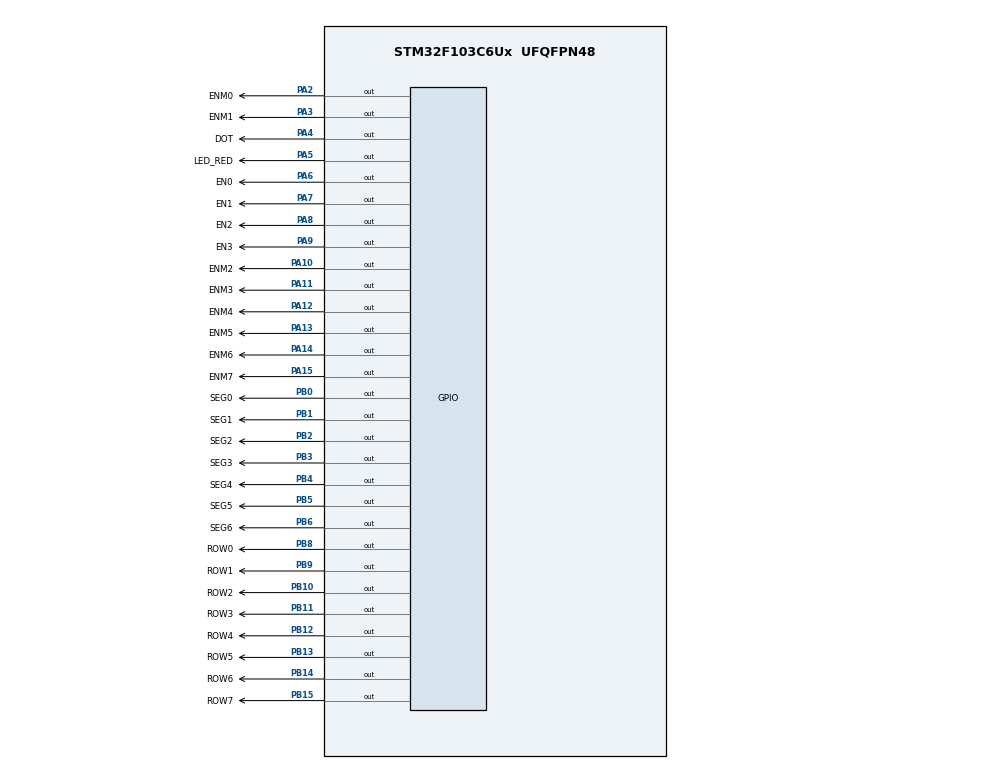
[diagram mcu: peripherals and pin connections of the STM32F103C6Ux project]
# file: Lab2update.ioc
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Mcu.Family=STM32F1
Mcu.Name=STM32F103C6Ux
Mcu.Package=UFQFPN48
NVIC.PriorityGroup=NVIC_PRIORITYGROUP_4
NVIC.TIM2_IRQn=true\:0\:0\:false\:false\:true\:true\:true
PA10.GPIO_Label=ENM2
PA10.Signal=GPIO_Output
PA11.GPIO_Label=ENM3
PA11.Signal=GPIO_Output
PA12.GPIO_Label=ENM4
PA12.Signal=GPIO_Output
PA13.GPIO_Label=ENM5
PA13.Signal=GPIO_Output
PA14.GPIO_Label=ENM6
PA14.Signal=GPIO_Output
PA15.GPIO_Label=ENM7
PA15.Signal=GPIO_Output
PA2.GPIO_Label=ENM0
PA2.Signal=GPIO_Output
PA3.GPIO_Label=ENM1
PA3.Signal=GPIO_Output
PA4.GPIO_Label=DOT
PA4.Signal=GPIO_Output
PA5.GPIO_Label=LED_RED
PA5.Signal=GPIO_Output
PA6.GPIO_Label=EN0
PA6.Signal=GPIO_Output
PA7.GPIO_Label=EN1
PA7.Signal=GPIO_Output
PA8.GPIO_Label=EN2
PA8.Signal=GPIO_Output
PA9.GPIO_Label=EN3
PA9.Signal=GPIO_Output
PB0.GPIO_Label=SEG0
PB0.Signal=GPIO_Output
PB1.GPIO_Label=SEG1
PB1.Signal=GPIO_Output
PB10.GPIO_Label=ROW2
PB10.Signal=GPIO_Output
PB11.GPIO_Label=ROW3
PB11.Signal=GPIO_Output
PB12.GPIO_Label=ROW4
PB12.Signal=GPIO_Output
PB13.GPIO_Label=ROW5
PB13.Signal=GPIO_Output
PB14.GPIO_Label=ROW6
PB14.Signal=GPIO_Output
PB15.GPIO_Label=ROW7
PB15.Signal=GPIO_Output
PB2.GPIO_Label=SEG2
PB2.Signal=GPIO_Output
PB3.GPIO_Label=SEG3
PB3.Signal=GPIO_Output
PB4.GPIO_Label=SEG4
PB4.Signal=GPIO_Output
PB5.GPIO_Label=SEG5
PB5.Signal=GPIO_Output
PB6.GPIO_Label=SEG6
PB6.Signal=GPIO_Output
PB8.GPIO_Label=ROW0
PB8.Signal=GPIO_Output
PB9.GPIO_Label=ROW1
PB9.Signal=GPIO_Output
ProjectManager.HeapSize=0x200
ProjectManager.StackSize=0x400
ProjectManager.TargetToolchain=STM32CubeIDE
RCC.APB1Freq_Value=8000000
RCC.APB2Freq_Value=8000000
TIM2.Period=9
TIM2.Prescaler=7999
VP_SYS_VS_ND.Mode=No_Debug
VP_TIM2_VS_ClockSourceINT.Mode=Internal
board=custom

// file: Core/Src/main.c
/* USER CODE BEGIN Header */
/**
  ******************************************************************************
  * @file           : main.c
  * @brief          : Main program body
  ******************************************************************************
  * @attention
  *
  * <h2><center>&copy; Copyright (c) 2023 STMicroelectronics.
  * All rights reserved.</center></h2>
  *
  * This software component is licensed by ST under BSD 3-Clause license,
  * the "License"; You may not use this file except in compliance with the
  * License. You may obtain a copy of the License at:
  *                        opensource.org/licenses/BSD-3-Clause
  *
  ******************************************************************************
  */
/* USER CODE END Header */
#include "main.h"
#include "software_timer.h"

TIM_HandleTypeDef htim2;

void SystemClock_Config(void);
static void MX_GPIO_Init(void);
static void MX_TIM2_Init(void);

/* USER CODE BEGIN 0 */
void display7SEG(int num){
	  if( num == 0){
		  	  	  HAL_GPIO_WritePin(SEG0_GPIO_Port, SEG0_Pin, RESET);
		  	  	  HAL_GPIO_WritePin(SEG1_GPIO_Port, SEG1_Pin, RESET);
		  	  	  HAL_GPIO_WritePin(SEG2_GPIO_Port, SEG2_Pin, RESET);
		  	  	  HAL_GPIO_WritePin(SEG3_GPIO_Port, SEG3_Pin, RESET);
		  	  	  HAL_GPIO_WritePin(SEG4_GPIO_Port, SEG4_Pin, RESET);
		  	  	  HAL_GPIO_WritePin(SEG5_GPIO_Port, SEG5_Pin, RESET);
		  	  	  HAL_GPIO_WritePin(SEG6_GPIO_Port, SEG6_Pin, SET);
	  }
	  else if( num == 1){
	    	  	  HAL_GPIO_WritePin(SEG0_GPIO_Port, SEG0_Pin, SET);
	    	  	  HAL_GPIO_WritePin(SEG1_GPIO_Port, SEG1_Pin, RESET);
	    	  	  HAL_GPIO_WritePin(SEG2_GPIO_Port, SEG2_Pin, RESET);
	    	  	  HAL_GPIO_WritePin(SEG3_GPIO_Port, SEG3_Pin, SET);
	    	  	  HAL_GPIO_WritePin(SEG4_GPIO_Port, SEG4_Pin, SET);
	    	  	  HAL_GPIO_WritePin(SEG5_GPIO_Port, SEG5_Pin, SET);
	    	  	  HAL_GPIO_WritePin(SEG6_GPIO_Port, SEG6_Pin, SET);
	  }
	  else if( num == 2){
	    	  	  HAL_GPIO_WritePin(SEG0_GPIO_Port, SEG0_Pin, RESET);
	    	  	  HAL_GPIO_WritePin(SEG1_GPIO_Port, SEG1_Pin, RESET);
	    	  	  HAL_GPIO_WritePin(SEG2_GPIO_Port, SEG2_Pin, SET);
	    	  	  HAL_GPIO_WritePin(SEG3_GPIO_Port, SEG3_Pin, RESET);
	    	  	  HAL_GPIO_WritePin(SEG4_GPIO_Port, SEG4_Pin, RESET);
	    	  	  HAL_GPIO_WritePin(SEG5_GPIO_Port, SEG5_Pin, SET);
	    	  	  HAL_GPIO_WritePin(SEG6_GPIO_Port, SEG6_Pin, RESET);
	  }
	  else if( num == 3){
	    	  	  HAL_GPIO_WritePin(SEG0_GPIO_Port, SEG0_Pin, RESET);
	    	  	  HAL_GPIO_WritePin(SEG1_GPIO_Port, SEG1_Pin, RESET);
	    	  	  HAL_GPIO_WritePin(SEG2_GPIO_Port, SEG2_Pin, RESET);
	    	  	  HAL_GPIO_WritePin(SEG3_GPIO_Port, SEG3_Pin, RESET);
	    	  	  HAL_GPIO_WritePin(SEG4_GPIO_Port, SEG4_Pin, SET);
	    	  	  HAL_GPIO_WritePin(SEG5_GPIO_Port, SEG5_Pin, SET);
	    	  	  HAL_GPIO_WritePin(SEG6_GPIO_Port, SEG6_Pin, RESET);
	  }
	  else if( num == 4){
	    	  	  HAL_GPIO_WritePin(SEG0_GPIO_Port, SEG0_Pin, SET);
	    	  	  HAL_GPIO_WritePin(SEG1_GPIO_Port, SEG1_Pin, RESET);
	    	  	  HAL_GPIO_WritePin(SEG2_GPIO_Port, SEG2_Pin, RESET);
	    	  	  HAL_GPIO_WritePin(SEG3_GPIO_Port, SEG3_Pin, SET);
	    	  	  HAL_GPIO_WritePin(SEG4_GPIO_Port, SEG4_Pin, SET);
	    	  	  HAL_GPIO_WritePin(SEG5_GPIO_Port, SEG5_Pin, RESET);
	    	  	  HAL_GPIO_WritePin(SEG6_GPIO_Port, SEG6_Pin, RESET);
	  }
	  else if( num == 5){
	    	  	  HAL_GPIO_WritePin(SEG0_GPIO_Port, SEG0_Pin, RESET);
	    	  	  HAL_GPIO_WritePin(SEG1_GPIO_Port, SEG1_Pin, SET);
	    	  	  HAL_GPIO_WritePin(SEG2_GPIO_Port, SEG2_Pin, RESET);
	    	  	  HAL_GPIO_WritePin(SEG3_GPIO_Port, SEG3_Pin, RESET);
	    	  	  HAL_GPIO_WritePin(SEG4_GPIO_Port, SEG4_Pin, SET);
	    	  	  HAL_GPIO_WritePin(SEG5_GPIO_Port, SEG5_Pin, RESET);
	    	  	  HAL_GPIO_WritePin(SEG6_GPIO_Port, SEG6_Pin, RESET);
	  }
	  else if( num == 6){
	    	  	  HAL_GPIO_WritePin(SEG0_GPIO_Port, SEG0_Pin, RESET);
	    	  	  HAL_GPIO_WritePin(SEG1_GPIO_Port, SEG1_Pin, SET);
	    	  	  HAL_GPIO_WritePin(SEG2_GPIO_Port, SEG2_Pin, RESET);
	    	  	  HAL_GPIO_WritePin(SEG3_GPIO_Port, SEG3_Pin, RESET);
	    	  	  HAL_GPIO_WritePin(SEG4_GPIO_Port, SEG4_Pin, RESET);
	    	  	  HAL_GPIO_WritePin(SEG5_GPIO_Port, SEG5_Pin, RESET);
	    	  	  HAL_GPIO_WritePin(SEG6_GPIO_Port, SEG6_Pin, RESET);
	  }
	  else if( num == 7){
	    	  	  HAL_GPIO_WritePin(SEG0_GPIO_Port, SEG0_Pin, RESET);
	    	  	  HAL_GPIO_WritePin(SEG1_GPIO_Port, SEG1_Pin, RESET);
	    	  	  HAL_GPIO_WritePin(SEG2_GPIO_Port, SEG2_Pin, RESET);
	    	  	  HAL_GPIO_WritePin(SEG3_GPIO_Port, SEG3_Pin, SET);
	    	  	  HAL_GPIO_WritePin(SEG4_GPIO_Port, SEG4_Pin, SET);
	    	  	  HAL_GPIO_WritePin(SEG5_GPIO_Port, SEG5_Pin, SET);
	    	  	  HAL_GPIO_WritePin(SEG6_GPIO_Port, SEG6_Pin, SET);
	  }
	  else if( num == 8){
	    	  	  HAL_GPIO_WritePin(SEG0_GPIO_Port, SEG0_Pin, RESET);
	    	  	  HAL_GPIO_WritePin(SEG1_GPIO_Port, SEG1_Pin, RESET);
	    	  	  HAL_GPIO_WritePin(SEG2_GPIO_Port, SEG2_Pin, RESET);
	    	  	  HAL_GPIO_WritePin(SEG3_GPIO_Port, SEG3_Pin, RESET);
	    	  	  HAL_GPIO_WritePin(SEG4_GPIO_Port, SEG4_Pin, RESET);
	    	  	  HAL_GPIO_WritePin(SEG5_GPIO_Port, SEG5_Pin, RESET);
	    	  	  HAL_GPIO_WritePin(SEG6_GPIO_Port, SEG6_Pin, RESET);
	  }
	  else if( num == 9){
	    	  	  HAL_GPIO_WritePin(SEG0_GPIO_Port, SEG0_Pin, RESET);
	    	  	  HAL_GPIO_WritePin(SEG1_GPIO_Port, SEG1_Pin, RESET);
	    	  	  HAL_GPIO_WritePin(SEG2_GPIO_Port, SEG2_Pin, RESET);
	    	  	  HAL_GPIO_WritePin(SEG3_GPIO_Port, SEG3_Pin, RESET);
	    	  	  HAL_GPIO_WritePin(SEG4_GPIO_Port, SEG4_Pin, SET);
	    	  	  HAL_GPIO_WritePin(SEG5_GPIO_Port, SEG5_Pin, RESET);
	    	  	  HAL_GPIO_WritePin(SEG6_GPIO_Port, SEG6_Pin, RESET);
	  }

}

const int MAX_LED = 4;
int index_led = 0;
int led_buffer[4] = {1, 2, 0, 3};
//void update7SEG(int index){
//    switch (index){
//		case 0: {
//			display7SEG(led_buffer[index]);
//			break ;
//		}
//		case 1:{
//			display7SEG(led_buffer[index]);
//			break ;
//		}
//		case 2:{
//			display7SEG(led_buffer[index]);
//			break ;
//		}
//		case 3:{
//			display7SEG(led_buffer[index]);
//			break ;
//		}
//		default :{
//		break ;
//		}
//    }
//}
void updateClockBuffer(int hour, int minute){
	if (hour < 10){
		led_buffer[0] = 0;
		led_buffer[1] = hour;
	} else {
		led_buffer[0] = hour / 10;
		led_buffer[1] = hour % 10;
	}
	if (minute < 10){
		led_buffer[2] = 0;
		led_buffer[3] = minute;
	} else {
		led_buffer[2] = minute / 10;
		led_buffer[3] = minute % 10;
	}
}
const int MAX_LED_MATRIX = 8;
int index_led_matrix = 0;
uint8_t matrix_buffer[8] = {0x00, 0xfe, 0x11, 0x11, 0x11, 0x11, 0xfe, 0x00};
void getBuffer(uint8_t config)
  {
    HAL_GPIO_WritePin(GPIOB, ROW0_Pin, !(config&1));
    config = config >> 1;
    HAL_GPIO_WritePin(GPIOB, ROW1_Pin, !(config&1));
    config = config >> 1;
    HAL_GPIO_WritePin(GPIOB, ROW2_Pin, !(config&1));
    config = config >> 1;
    HAL_GPIO_WritePin(GPIOB, ROW3_Pin, !(config&1));
    config = config >> 1;
    HAL_GPIO_WritePin(GPIOB, ROW4_Pin, !(config&1));
    config = config >> 1;
    HAL_GPIO_WritePin(GPIOB, ROW5_Pin, !(config&1));
    config = config >> 1;
    HAL_GPIO_WritePin(GPIOB, ROW6_Pin, !(config&1));
    config = config >> 1;
    HAL_GPIO_WritePin(GPIOB, ROW7_Pin, !(config&1));
  }

void updateLEDMatrix(int index)
    {
      switch(index)
      {
      case 0:
    	  getBuffer(matrix_buffer[0]);
    	  break;
      case 1:
    	  getBuffer(matrix_buffer[1]);
    	  break;
      case 2:
          getBuffer(matrix_buffer[2]);
          break;
      case 3:
          getBuffer(matrix_buffer[3]);
          break;
      case 4:
          getBuffer(matrix_buffer[4]);
          break;
      case 5:
          getBuffer(matrix_buffer[5]);
        break;
      case 6:
          getBuffer(matrix_buffer[6]);
        break;
      case 7:
          getBuffer(matrix_buffer[7]);
        break;
      default:
        break;
      }
    }

void openENM(int index){
 	switch(index) {
		case 0:
		  HAL_GPIO_WritePin(GPIOA, ENM0_Pin, 0);
		  break;
		case 1:
		  HAL_GPIO_WritePin(GPIOA, ENM1_Pin, 0);
		  break;
		case 2:
		  HAL_GPIO_WritePin(GPIOA, ENM2_Pin, 0);
		  break;
		case 3:
		  HAL_GPIO_WritePin(GPIOA, ENM3_Pin, 0);
		  break;
		case 4:
		  HAL_GPIO_WritePin(GPIOA, ENM4_Pin, 0);
		  break;
		case 5:
		  HAL_GPIO_WritePin(GPIOA, ENM5_Pin, 0);
		  break;
		case 6:
		  HAL_GPIO_WritePin(GPIOA, ENM6_Pin, 0);
		  break;
		case 7:
		  HAL_GPIO_WritePin(GPIOA, ENM7_Pin, 0);
		  break;
		default:
		  break;
 	}
}
void clearENM()
  {
	  HAL_GPIO_WritePin(GPIOA, ENM0_Pin | ENM1_Pin | ENM2_Pin |
                               ENM3_Pin | ENM4_Pin | ENM5_Pin |
							   ENM6_Pin | ENM7_Pin, 1);
  }

/* USER CODE END 0 */

int main(void)
{

  /* MCU Configuration--------------------------------------------------------*/

  /* Reset of all peripherals, Initializes the Flash interface and the Systick. */
  HAL_Init();

  /* Configure the system clock */
  SystemClock_Config();

  /* Initialize all configured peripherals */
  MX_GPIO_Init();
  MX_TIM2_Init();
  /* USER CODE BEGIN 2 */
  HAL_TIM_Base_Start_IT(&htim2);
  /* USER CODE END 2 */

  /* Infinite loop */
  /* USER CODE BEGIN WHILE */
  int status = 0;
    setTimer0(10);
    setTimer1(10);
    setTimer2(10);
    setTimer3(10);
    setTimer4(10);

   int hour = 12, minute = 03, second = 50;
  while (1)
    {
  	  void update7SEG(int index){
  		  switch (index){
  			case 0: {
  				display7SEG(led_buffer[index]);
  				break ;
  			}
  			case 1:{
  				display7SEG(led_buffer[index]);
  				break ;
  			}
  			case 2:{
  				display7SEG(led_buffer[index]);
  				break ;
  			}
  			case 3:{
  				display7SEG(led_buffer[index]);
  				break ;
  			}
  			default :{
  			break ;
  			}
  		  }
  	  }

  	  if (timer0_flag == 1){
  		  second ++;
  		  if ( second >= 60) {
  			  second = 0;
  			  minute ++;
  		  }
  		  if( minute >= 60) {
  			  minute = 0;
  			  hour ++;
  		  }
  		  if( hour >=24){
  			  hour = 0;
  		  }
  		  updateClockBuffer (hour, minute);
  		  setTimer0(1000);
  	  }

  	  if( timer1_flag == 1){
  		  HAL_GPIO_TogglePin ( LED_RED_GPIO_Port , LED_RED_Pin );
  		  setTimer1(2000) ;
  	  }
  	  if (timer2_flag == 1){

  	   		  switch (status) {
  	   		  case 0: {
  	   					HAL_GPIO_WritePin(EN0_GPIO_Port, EN0_Pin, GPIO_PIN_RESET);
  	   					HAL_GPIO_WritePin(EN1_GPIO_Port, EN1_Pin, GPIO_PIN_SET);
  	   					HAL_GPIO_WritePin(EN2_GPIO_Port, EN2_Pin, GPIO_PIN_SET);
  	   					HAL_GPIO_WritePin(EN3_GPIO_Port, EN3_Pin, GPIO_PIN_SET);
  	   					status = 1;
  	   					update7SEG(index_led);
  	   					index_led++;
  	   					break;
  	   		  }
  	   		  case 1: {
  	   					HAL_GPIO_WritePin(EN0_GPIO_Port, EN0_Pin, GPIO_PIN_SET);
  	   					HAL_GPIO_WritePin(EN1_GPIO_Port, EN1_Pin, GPIO_PIN_RESET);
  	   					HAL_GPIO_WritePin(EN2_GPIO_Port, EN2_Pin, GPIO_PIN_SET);
  	   					HAL_GPIO_WritePin(EN3_GPIO_Port, EN3_Pin, GPIO_PIN_SET);
  	   					status = 2;
  	   					update7SEG(index_led);
  	   					index_led++;
  	   					break;
  	   		  }
  	   		  case 2:{
  	   					HAL_GPIO_WritePin(EN0_GPIO_Port, EN0_Pin, GPIO_PIN_SET);
  	   					HAL_GPIO_WritePin(EN1_GPIO_Port, EN1_Pin, GPIO_PIN_SET);
  	   					HAL_GPIO_WritePin(EN2_GPIO_Port, EN2_Pin, GPIO_PIN_RESET);
  	   					HAL_GPIO_WritePin(EN3_GPIO_Port, EN3_Pin, GPIO_PIN_SET);
  	   					status = 3;
  	   					update7SEG(index_led);
  	   					index_led++;
  	   					break;
  	   		  }
  	   		  case 3:{
  	   					HAL_GPIO_WritePin(EN0_GPIO_Port, EN0_Pin, GPIO_PIN_SET);
  	   					HAL_GPIO_WritePin(EN1_GPIO_Port, EN1_Pin, GPIO_PIN_SET);
  	   					HAL_GPIO_WritePin(EN2_GPIO_Port, EN2_Pin, GPIO_PIN_SET);
  	   					HAL_GPIO_WritePin(EN3_GPIO_Port, EN3_Pin, GPIO_PIN_RESET);
  	   					status = 0;
  	   					update7SEG(index_led);
  	   					index_led = 0;
  	   					break;
  	   		  }
  	   		  default:
  	   			  break;
  	   		  }
  	   		  setTimer2(250);
  	   	  }
  	   	 if (timer3_flag == 1){
  	   		 HAL_GPIO_TogglePin(DOT_GPIO_Port, DOT_Pin);
  	   		 setTimer3(1000);
  	   	 }
  	   	 if (timer4_flag == 1){
  	   		clearENM();
  	   		openENM(index_led_matrix);
  	   		updateLEDMatrix(index_led_matrix);
  	   		index_led_matrix++;
  	   		if(index_led_matrix > 7) index_led_matrix = 0;
  	   		 setTimer4(10);
  	   	 }
    /* USER CODE END WHILE */

  }
}

void SystemClock_Config(void)
{
  RCC_OscInitTypeDef RCC_OscInitStruct = {0};
  RCC_ClkInitTypeDef RCC_ClkInitStruct = {0};

  /** Initializes the RCC Oscillators according to the specified parameters
  * in the RCC_OscInitTypeDef structure.
  */
  RCC_OscInitStruct.OscillatorType = RCC_OSCILLATORTYPE_HSI;
  RCC_OscInitStruct.HSIState = RCC_HSI_ON;
  RCC_OscInitStruct.HSICalibrationValue = RCC_HSICALIBRATION_DEFAULT;
  RCC_OscInitStruct.PLL.PLLState = RCC_PLL_NONE;
  if (HAL_RCC_OscConfig(&RCC_OscInitStruct) != HAL_OK)
  {
    Error_Handler();
  }
  /** Initializes the CPU, AHB and APB buses clocks
  */
  RCC_ClkInitStruct.ClockType = RCC_CLOCKTYPE_HCLK|RCC_CLOCKTYPE_SYSCLK
                              |RCC_CLOCKTYPE_PCLK1|RCC_CLOCKTYPE_PCLK2;
  RCC_ClkInitStruct.SYSCLKSource = RCC_SYSCLKSOURCE_HSI;
  RCC_ClkInitStruct.AHBCLKDivider = RCC_SYSCLK_DIV1;
  RCC_ClkInitStruct.APB1CLKDivider = RCC_HCLK_DIV1;
  RCC_ClkInitStruct.APB2CLKDivider = RCC_HCLK_DIV1;

  if (HAL_RCC_ClockConfig(&RCC_ClkInitStruct, FLASH_LATENCY_0) != HAL_OK)
  {
    Error_Handler();
  }
}

static void MX_TIM2_Init(void)
{

  TIM_ClockConfigTypeDef sClockSourceConfig = {0};
  TIM_MasterConfigTypeDef sMasterConfig = {0};

  htim2.Instance = TIM2;
  htim2.Init.Prescaler = 7999;
  htim2.Init.CounterMode = TIM_COUNTERMODE_UP;
  htim2.Init.Period = 9;
  htim2.Init.ClockDivision = TIM_CLOCKDIVISION_DIV1;
  htim2.Init.AutoReloadPreload = TIM_AUTORELOAD_PRELOAD_DISABLE;
  if (HAL_TIM_Base_Init(&htim2) != HAL_OK)
  {
    Error_Handler();
  }
  sClockSourceConfig.ClockSource = TIM_CLOCKSOURCE_INTERNAL;
  if (HAL_TIM_ConfigClockSource(&htim2, &sClockSourceConfig) != HAL_OK)
  {
    Error_Handler();
  }
  sMasterConfig.MasterOutputTrigger = TIM_TRGO_RESET;
  sMasterConfig.MasterSlaveMode = TIM_MASTERSLAVEMODE_DISABLE;
  if (HAL_TIMEx_MasterConfigSynchronization(&htim2, &sMasterConfig) != HAL_OK)
  {
    Error_Handler();
  }

}

static void MX_GPIO_Init(void)
{
  GPIO_InitTypeDef GPIO_InitStruct = {0};

  /* GPIO Ports Clock Enable */
  __HAL_RCC_GPIOA_CLK_ENABLE();
  __HAL_RCC_GPIOB_CLK_ENABLE();

  /*Configure GPIO pin Output Level */
  HAL_GPIO_WritePin(GPIOA, ENM0_Pin|ENM1_Pin|DOT_Pin|LED_RED_Pin
                          |EN0_Pin|EN1_Pin|EN2_Pin|EN3_Pin
                          |ENM2_Pin|ENM3_Pin|ENM4_Pin|ENM5_Pin
                          |ENM6_Pin|ENM7_Pin, GPIO_PIN_RESET);

  /*Configure GPIO pin Output Level */
  HAL_GPIO_WritePin(GPIOB, SEG0_Pin|SEG1_Pin|SEG2_Pin|ROW2_Pin
                          |ROW3_Pin|ROW4_Pin|ROW5_Pin|ROW6_Pin
                          |ROW7_Pin|SEG3_Pin|SEG4_Pin|SEG5_Pin
                          |SEG6_Pin|ROW0_Pin|ROW1_Pin, GPIO_PIN_RESET);

  /*Configure GPIO pins : ENM0_Pin ENM1_Pin DOT_Pin LED_RED_Pin
                           EN0_Pin EN1_Pin EN2_Pin EN3_Pin
                           ENM2_Pin ENM3_Pin ENM4_Pin ENM5_Pin
                           ENM6_Pin ENM7_Pin */
  GPIO_InitStruct.Pin = ENM0_Pin|ENM1_Pin|DOT_Pin|LED_RED_Pin
                          |EN0_Pin|EN1_Pin|EN2_Pin|EN3_Pin
                          |ENM2_Pin|ENM3_Pin|ENM4_Pin|ENM5_Pin
                          |ENM6_Pin|ENM7_Pin;
  GPIO_InitStruct.Mode = GPIO_MODE_OUTPUT_PP;
  GPIO_InitStruct.Pull = GPIO_NOPULL;
  GPIO_InitStruct.Speed = GPIO_SPEED_FREQ_LOW;
  HAL_GPIO_Init(GPIOA, &GPIO_InitStruct);

  /*Configure GPIO pins : SEG0_Pin SEG1_Pin SEG2_Pin ROW2_Pin
                           ROW3_Pin ROW4_Pin ROW5_Pin ROW6_Pin
                           ROW7_Pin SEG3_Pin SEG4_Pin SEG5_Pin
                           SEG6_Pin ROW0_Pin ROW1_Pin */
  GPIO_InitStruct.Pin = SEG0_Pin|SEG1_Pin|SEG2_Pin|ROW2_Pin
                          |ROW3_Pin|ROW4_Pin|ROW5_Pin|ROW6_Pin
                          |ROW7_Pin|SEG3_Pin|SEG4_Pin|SEG5_Pin
                          |SEG6_Pin|ROW0_Pin|ROW1_Pin;
  GPIO_InitStruct.Mode = GPIO_MODE_OUTPUT_PP;
  GPIO_InitStruct.Pull = GPIO_NOPULL;
  GPIO_InitStruct.Speed = GPIO_SPEED_FREQ_LOW;
  HAL_GPIO_Init(GPIOB, &GPIO_InitStruct);

}

/* USER CODE BEGIN 4 */
int counter = 25;
int flag = 0;
void HAL_TIM_PeriodElapsedCallback ( TIM_HandleTypeDef * htim )
{
	timer_run();
}
/* USER CODE END 4 */

void Error_Handler(void)
{
  __disable_irq();
  while (1)
  {
  }
}

/************************ (C) COPYRIGHT STMicroelectronics *****END OF FILE****/
